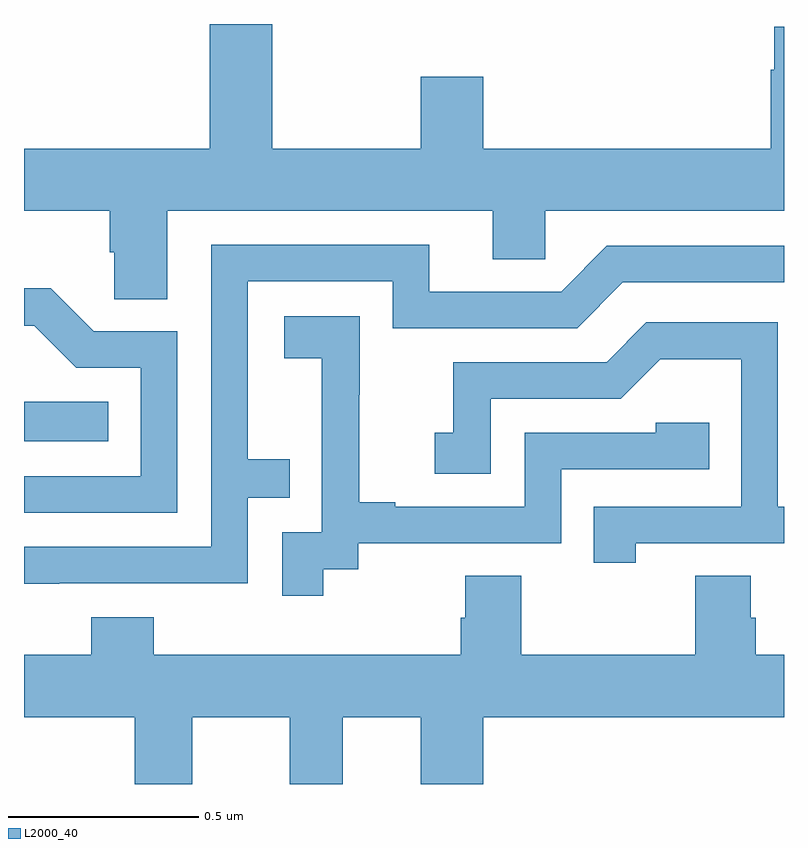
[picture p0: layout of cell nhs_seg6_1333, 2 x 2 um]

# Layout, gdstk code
import gdstk
lib = gdstk.Library(unit=1e-6, precision=1e-09)
def R(c, l, rs):  # rectangles x0, y0, x1, y1
    for r in rs: c.add(gdstk.rectangle(r[:2], r[2:], *l))
def P(c, l, *ps):  # polygons
    for p in ps: c.add(gdstk.Polygon(p, *l))
L2000_40 = (2000, 40)

nhs_seg6_1333 = lib.new_cell('nhs_seg6_1333')
R(nhs_seg6_1333, L2000_40, [(128,941.402,128.222,941.506)])
P(nhs_seg6_1333, L2000_40, [(128.377,942.008),(129.233,942.008),(129.233,941.881),(129.372,941.881),(129.372,942.008),(130,942.008),(130,942.493),(129.974,942.493),(129.974,942.38),(129.965,942.38),(129.965,942.172),(129.208,942.172),(129.208,942.361),(129.044,942.361),(129.044,942.172),(128.653,942.172),(128.653,942.5),(128.489,942.5),(128.489,942.172),(128,942.172),(128,942.008),(128.225,942.008),(128.225,941.899),(128.238,941.899),(128.238,941.776),(128.377,941.776)],
  [(128.093,941.028),(128.589,941.028),(128.589,941.253),(128.699,941.253),(128.699,941.354),(128.589,941.354),(128.589,941.823),(128.97,941.823),(128.97,941.7),(129.456,941.7),(129.576,941.82),(130,941.82),(130,941.916),(129.534,941.916),(129.414,941.796),(129.067,941.796),(129.067,941.919),(128.493,941.919),(128.493,941.124),(128,941.124),(128,941.027),(128.093,941.027)],
  [(128.403,941.691),(128.184,941.691),(128.071,941.804),(128,941.804),(128,941.706),(128.027,941.706),(128.138,941.595),(128.307,941.595),(128.307,941.31),(128,941.31),(128,941.214),(128.403,941.214)],
  [(128.788,941.065),(128.88,941.065),(128.88,941.133),(129.414,941.133),(129.414,941.328),(129.803,941.328),(129.803,941.451),(129.663,941.451),(129.663,941.424),(129.318,941.424),(129.318,941.229),(128.977,941.229),(128.977,941.242),(128.882,941.242),(128.882,941.525),(128.883,941.525),(128.883,941.731),(128.685,941.731),(128.685,941.621),(128.783,941.621),(128.783,941.393),(128.784,941.393),(128.784,941.163),(128.679,941.163),(128.679,940.995),(128.788,940.995)],
  [(129.61,941.133),(130,941.133),(130,941.229),(129.984,941.229),(129.984,941.715),(129.638,941.715),(129.533,941.61),(129.13,941.61),(129.13,941.425),(129.081,941.425),(129.081,941.316),(129.228,941.316),(129.228,941.514),(129.57,941.514),(129.674,941.618),(129.888,941.618),(129.888,941.229),(129.499,941.229),(129.499,941.082),(129.61,941.082)],
  [(128.443,940.676),(128.699,940.676),(128.699,940.5),(128.839,940.5),(128.839,940.676),(129.044,940.676),(129.044,940.5),(129.208,940.5),(129.208,940.676),(130,940.676),(130,940.84),(129.926,940.84),(129.926,940.938),(129.913,940.938),(129.913,941.048),(129.766,941.048),(129.766,940.84),(129.309,940.84),(129.309,941.048),(129.161,941.048),(129.161,940.938),(129.149,940.938),(129.149,940.84),(128.342,940.84),(128.342,940.939),(128.177,940.939),(128.177,940.84),(128,940.84),(128,940.676),(128.291,940.676),(128.291,940.5),(128.443,940.5)])

lib.write_gds('nhs_seg6_1333.gds')
